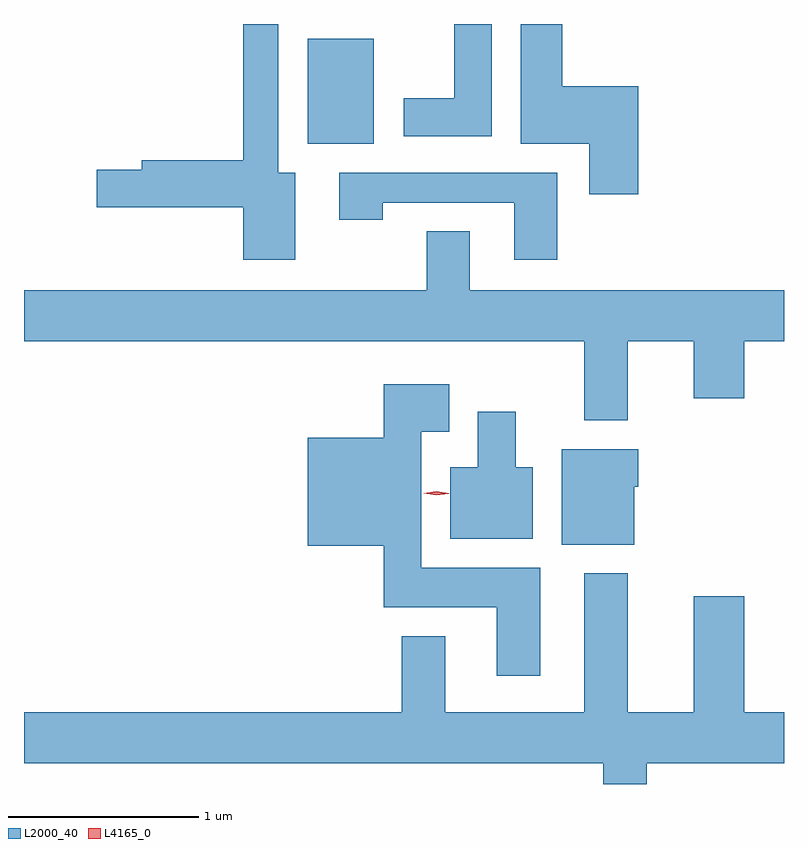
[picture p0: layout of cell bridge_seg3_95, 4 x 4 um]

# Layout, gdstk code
import gdstk
lib = gdstk.Library(unit=1e-6, precision=1e-09)
def R(c, l, rs):  # rectangles x0, y0, x1, y1
    for r in rs: c.add(gdstk.rectangle(r[:2], r[2:], *l))
def P(c, l, *ps):  # polygons
    for p in ps: c.add(gdstk.Polygon(p, *l))
L2000_40 = (2000, 40)
L4165_0 = (4165, 0)

bridge_seg3_95 = lib.new_cell('bridge_seg3_95')
R(bridge_seg3_95, L2000_40, [(912.346,1215.856,912.694,1216.409)])
P(bridge_seg3_95, L2000_40, [(913.314,1216.486),(913.116,1216.486),(913.116,1216.094),(912.851,1216.094),(912.851,1215.896),(913.314,1215.896)],
  [(914.084,1216.159),(913.684,1216.159),(913.684,1216.486),(913.466,1216.486),(913.466,1215.856),(913.826,1215.856),(913.826,1215.591),(914.084,1215.591)],
  [(912.279,1215.704),(912.189,1215.704),(912.189,1216.486),(912.006,1216.486),(912.006,1215.769),(911.471,1215.769),(911.471,1215.719),(911.236,1215.719),(911.236,1215.521),(912.006,1215.521),(912.006,1215.246),(912.279,1215.246)],
  [(913.659,1215.704),(912.511,1215.704),(912.511,1215.456),(912.739,1215.456),(912.739,1215.546),(913.431,1215.546),(913.431,1215.246),(913.659,1215.246)],
  [(914.029,1214.816),(914.376,1214.816),(914.376,1214.516),(914.644,1214.516),(914.644,1214.816),(914.852,1214.816),(914.852,1215.084),(913.199,1215.084),(913.199,1215.394),(912.971,1215.394),(912.971,1215.084),(910.852,1215.084),(910.852,1214.816),(913.801,1214.816),(913.801,1214.401),(914.029,1214.401)],
  [(913.569,1213.624),(912.944,1213.624),(912.944,1214.341),(913.089,1214.341),(913.089,1214.589),(912.746,1214.589),(912.746,1214.309),(912.346,1214.309),(912.346,1213.741),(912.746,1213.741),(912.746,1213.416),(913.341,1213.416),(913.341,1213.056),(913.569,1213.056)],
  [(913.529,1214.154),(913.439,1214.154),(913.439,1214.444),(913.241,1214.444),(913.241,1214.154),(913.096,1214.154),(913.096,1213.776),(913.529,1213.776)],
  [(914.064,1214.051),(914.084,1214.051),(914.084,1214.249),(913.681,1214.249),(913.681,1213.746),(914.064,1213.746)],
  [(914.129,1212.596),(914.852,1212.596),(914.852,1212.864),(914.644,1212.864),(914.644,1213.474),(914.376,1213.474),(914.376,1212.864),(914.029,1212.864),(914.029,1213.594),(913.801,1213.594),(913.801,1212.864),(913.069,1212.864),(913.069,1213.264),(912.841,1213.264),(912.841,1212.864),(910.852,1212.864),(910.852,1212.596),(913.901,1212.596),(913.901,1212.486),(914.129,1212.486)])
P(bridge_seg3_95, L4165_0, [(913.022,1214.006),(912.956,1214.016),(912.955,1214.017),(912.956,1214.017),(913.022,1214.026),(913.087,1214.015),(913.088,1214.015),(913.087,1214.014)])

lib.write_gds('bridge_seg3_95.gds')
